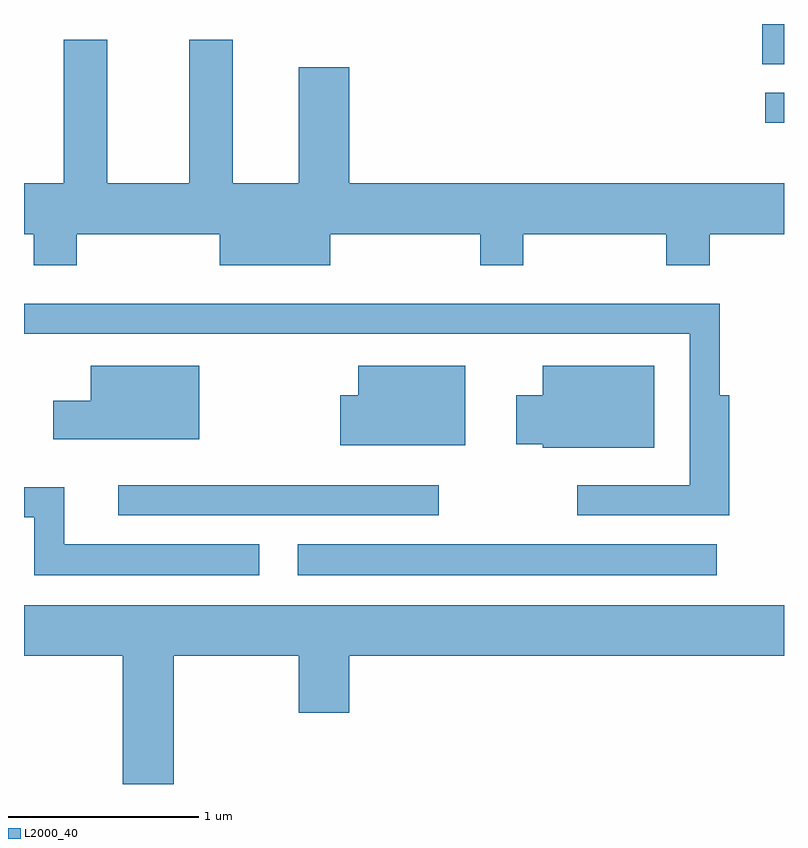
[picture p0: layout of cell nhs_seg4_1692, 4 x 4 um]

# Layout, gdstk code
import gdstk
lib = gdstk.Library(unit=1e-6, precision=1e-09)
def R(c, l, rs):  # rectangles x0, y0, x1, y1
    for r in rs: c.add(gdstk.rectangle(r[:2], r[2:], *l))
def P(c, l, *ps):  # polygons
    for p in ps: c.add(gdstk.Polygon(p, *l))
L2000_40 = (2000, 40)

nhs_seg4_1692 = lib.new_cell('nhs_seg4_1692')
R(nhs_seg4_1692, L2000_40, [(235.053,1375.081,237.258,1375.244), (234.108,1375.396,235.793,1375.554), (237.513,1377.461,237.611,1377.619), (237.496,1377.771,237.611,1377.982)])
P(nhs_seg4_1692, L2000_40, [(233.889,1376.876),(234.641,1376.876),(234.641,1376.711),(235.224,1376.711),(235.224,1376.876),(236.011,1376.876),(236.011,1376.711),(236.239,1376.711),(236.239,1376.876),(236.991,1376.876),(236.991,1376.711),(237.219,1376.711),(237.219,1376.876),(237.611,1376.876),(237.611,1377.144),(235.324,1377.144),(235.324,1377.754),(235.056,1377.754),(235.056,1377.144),(234.709,1377.144),(234.709,1377.899),(234.481,1377.899),(234.481,1377.144),(234.049,1377.144),(234.049,1377.899),(233.821,1377.899),(233.821,1377.144),(233.611,1377.144),(233.611,1376.876),(233.661,1376.876),(233.661,1376.711),(233.889,1376.711)],
  [(237.324,1376.029),(237.274,1376.029),(237.274,1376.509),(233.611,1376.509),(233.611,1376.351),(237.116,1376.351),(237.116,1375.554),(236.523,1375.554),(236.523,1375.396),(237.324,1375.396)],
  [(235.934,1376.184),(235.371,1376.184),(235.371,1376.029),(235.276,1376.029),(235.276,1375.766),(235.934,1375.766)],
  [(236.929,1376.184),(236.341,1376.184),(236.341,1376.029),(236.201,1376.029),(236.201,1375.771),(236.341,1375.771),(236.341,1375.751),(236.929,1375.751)],
  [(234.534,1376.184),(233.961,1376.184),(233.961,1375.999),(233.766,1375.999),(233.766,1375.796),(234.534,1375.796)],
  [(234.848,1375.244),(233.824,1375.244),(233.824,1375.544),(233.611,1375.544),(233.611,1375.386),(233.666,1375.386),(233.666,1375.081),(234.848,1375.081)],
  [(234.399,1374.656),(235.056,1374.656),(235.056,1374.356),(235.324,1374.356),(235.324,1374.656),(237.611,1374.656),(237.611,1374.924),(233.611,1374.924),(233.611,1374.656),(234.131,1374.656),(234.131,1373.982),(234.399,1373.982)])

lib.write_gds('nhs_seg4_1692.gds')
